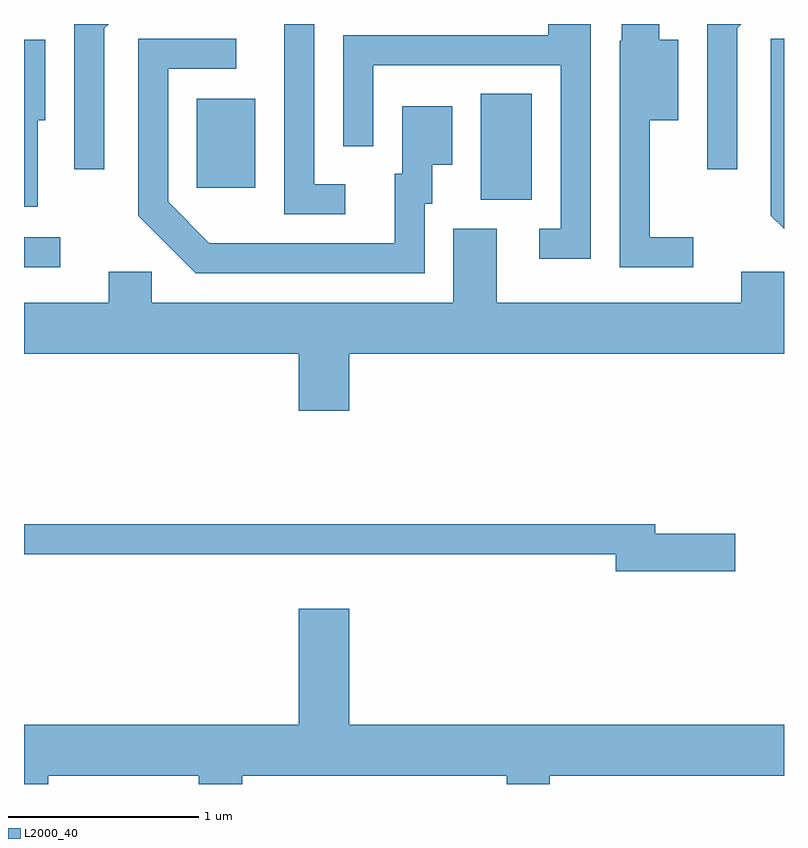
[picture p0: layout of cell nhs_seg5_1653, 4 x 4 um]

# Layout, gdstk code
import gdstk
lib = gdstk.Library(unit=1e-6, precision=1e-09)
def R(c, l, rs):  # rectangles x0, y0, x1, y1
    for r in rs: c.add(gdstk.rectangle(r[:2], r[2:], *l))
def P(c, l, *ps):  # polygons
    for p in ps: c.add(gdstk.Polygon(p, *l))
L2000_40 = (2000, 40)

nhs_seg5_1653 = lib.new_cell('nhs_seg5_1653')
R(nhs_seg5_1653, L2000_40, [(233.611,1472.791,233.803,1472.949), (236.016,1473.146,236.284,1473.704), (234.521,1473.211,234.829,1473.679)])
P(nhs_seg5_1653, L2000_40, [(236.594,1474.072),(236.371,1474.072),(236.371,1474.014),(235.291,1474.014),(235.291,1473.428),(235.449,1473.428),(235.449,1473.856),(236.436,1473.856),(236.436,1472.994),(236.323,1472.994),(236.323,1472.836),(236.594,1472.836)],
  [(235.303,1473.229),(235.139,1473.229),(235.139,1474.072),(234.981,1474.072),(234.981,1473.071),(235.303,1473.071)],
  [(234.034,1474.049),(234.057,1474.072),(233.876,1474.072),(233.876,1473.308),(234.034,1473.308)],
  [(237.364,1474.049),(237.387,1474.072),(237.206,1474.072),(237.206,1473.308),(237.364,1473.308)],
  [(237.133,1472.949),(236.904,1472.949),(236.904,1473.566),(237.054,1473.566),(237.054,1473.989),(236.954,1473.989),(236.954,1474.072),(236.756,1474.072),(236.756,1473.985),(236.746,1473.985),(236.746,1472.791),(237.133,1472.791)],
  [(237.611,1473.994),(237.541,1473.994),(237.541,1473.064),(237.611,1472.994)],
  [(235.719,1473.126),(235.759,1473.126),(235.759,1473.331),(235.864,1473.331),(235.864,1473.639),(235.601,1473.639),(235.601,1473.284),(235.561,1473.284),(235.561,1472.919),(234.587,1472.919),(234.369,1473.137),(234.369,1473.836),(234.728,1473.836),(234.728,1473.994),(234.211,1473.994),(234.211,1473.064),(234.514,1472.761),(235.719,1472.761)],
  [(233.684,1473.566),(233.724,1473.566),(233.724,1473.989),(233.611,1473.989),(233.611,1473.111),(233.684,1473.111)],
  [(235.056,1472.036),(235.324,1472.036),(235.324,1472.336),(237.611,1472.336),(237.611,1472.769),(237.386,1472.769),(237.386,1472.604),(236.099,1472.604),(236.099,1472.994),(235.871,1472.994),(235.871,1472.604),(234.284,1472.604),(234.284,1472.769),(234.056,1472.769),(234.056,1472.604),(233.611,1472.604),(233.611,1472.336),(235.056,1472.336)],
  [(237.354,1471.389),(236.934,1471.389),(236.934,1471.439),(233.611,1471.439),(233.611,1471.281),(236.726,1471.281),(236.726,1471.191),(237.354,1471.191)],
  [(233.739,1470.116),(234.531,1470.116),(234.531,1470.072),(234.759,1470.072),(234.759,1470.116),(236.151,1470.116),(236.151,1470.072),(236.379,1470.072),(236.379,1470.116),(237.611,1470.116),(237.611,1470.384),(235.324,1470.384),(235.324,1470.994),(235.056,1470.994),(235.056,1470.384),(233.611,1470.384),(233.611,1470.072),(233.739,1470.072)])

lib.write_gds('nhs_seg5_1653.gds')
